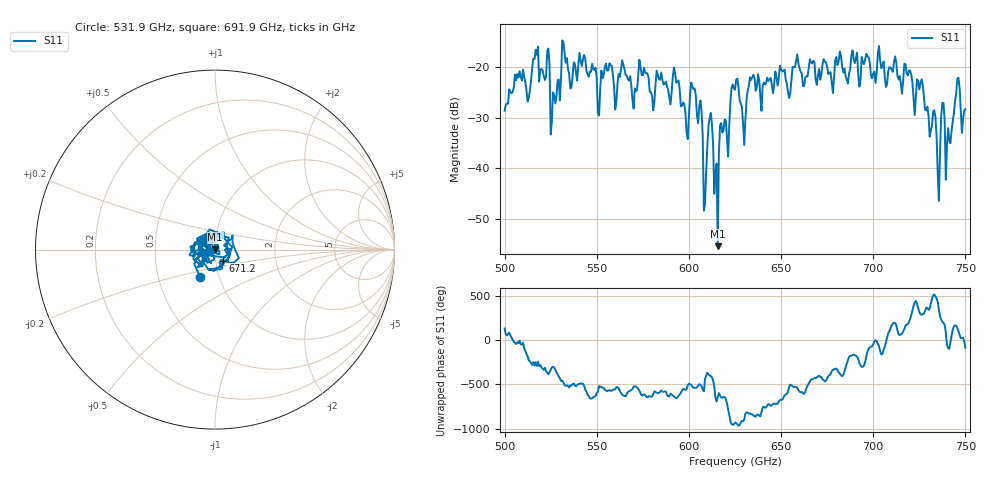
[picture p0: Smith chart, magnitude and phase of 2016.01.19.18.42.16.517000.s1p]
!Created with skrf (http://scikit-rf.org).
# GHz S RI R 50.0
!freq ReS11 ImS11
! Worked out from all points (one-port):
!   401 points, 500 GHz to 750 GHz, reference 50 ohm
!   lowest |S11| = -55.4 dB at 615.6 GHz (marker M1), VSWR 1.00, Z = 50 + j0.165 ohm
!   |S11| at or under -10 dB: start of sweep to end of sweep
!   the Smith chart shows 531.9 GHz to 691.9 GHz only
!   S11 on the Smith chart (normalised r, x): 531.9 GHz: 0.81, -0.26; 671.2 GHz: 1.08, -0.13; 691.9 GHz: 0.87, +0.09
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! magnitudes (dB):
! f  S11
! 500 GHz  -28.6
! 516.9 GHz  -16.6
! 523.1 GHz  -16.9
! 526.2 GHz  -25.0
! 531.2 GHz  -14.8
! 531.9 GHz  -15.1
! 551.2 GHz  -29.6
! 562.5 GHz  -22.0
! 593.8 GHz  -22.9
! 598.8 GHz  -33.1
! 602.5 GHz  -24.4
! 608.8 GHz  -46.8
! 611.9 GHz  -29.1
! 614.4 GHz  -40.7
! 615.6 GHz  -55.4
! 625 GHz  -24.5
! 629.4 GHz  -31.1
! 634.4 GHz  -22.0
! 656.2 GHz  -20.0
! 671.2 GHz  -22.5
! 687.5 GHz  -20.4
! 691.9 GHz  -21.6
! 718.8 GHz  -21.7
! 735 GHz  -41.2
! 737.5 GHz  -27.1
! 740.6 GHz  -32.1
! 745.6 GHz  -22.3
! 750 GHz  -28.4
